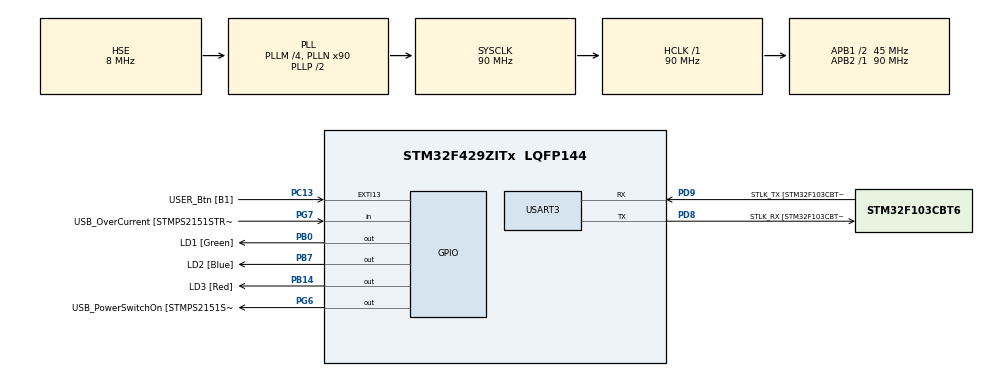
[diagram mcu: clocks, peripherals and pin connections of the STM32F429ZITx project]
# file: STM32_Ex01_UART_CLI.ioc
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ADC1.Channel-0\#ChannelRegularConversion=ADC_CHANNEL_TEMPSENSOR
ADC1.ContinuousConvMode=ENABLE
ADC1.NbrOfConversionFlag=1
ADC1.Rank-0\#ChannelRegularConversion=1
ADC1.SamplingTime-0\#ChannelRegularConversion=ADC_SAMPLETIME_3CYCLES
ADC1.master=1
Mcu.Family=STM32F4
Mcu.Name=STM32F429ZITx
Mcu.Package=LQFP144
NVIC.PriorityGroup=NVIC_PRIORITYGROUP_4
PA1.GPIO_Label=RMII_REF_CLK [LAN8742A-CZ-TR_REFCLK0]
PA1.Signal=ETH_REF_CLK
PA10.GPIO_Label=USB_ID
PA10.Signal=USB_OTG_FS_ID
PA11.GPIO_Label=USB_DM
PA11.Signal=USB_OTG_FS_DM
PA12.GPIO_Label=USB_DP
PA12.Signal=USB_OTG_FS_DP
PA13.GPIO_Label=TMS
PA13.Signal=SYS_JTMS-SWDIO
PA14.GPIO_Label=TCK
PA14.Signal=SYS_JTCK-SWCLK
PA2.GPIO_Label=RMII_MDIO [LAN8742A-CZ-TR_MDIO]
PA2.Signal=ETH_MDIO
PA7.GPIO_Label=RMII_CRS_DV [LAN8742A-CZ-TR_CRS_DV]
PA7.Signal=ETH_CRS_DV
PA8.GPIO_Label=USB_SOF [TP1]
PA8.Signal=USB_OTG_FS_SOF
PA9.GPIO_Label=USB_VBUS
PA9.Signal=USB_OTG_FS_VBUS
PB0.GPIO_Label=LD1 [Green]
PB0.Signal=GPIO_Output
PB13.GPIO_Label=RMII_TXD1 [LAN8742A-CZ-TR_TXD1]
PB13.Signal=ETH_TXD1
PB14.GPIO_Label=LD3 [Red]
PB14.Signal=GPIO_Output
PB7.GPIO_Label=LD2 [Blue]
PB7.Signal=GPIO_Output
PC1.GPIO_Label=RMII_MDC [LAN8742A-CZ-TR_MDC]
PC1.Signal=ETH_MDC
PC13.GPIO_Label=USER_Btn [B1]
PC13.Signal=GPXTI13
PC14/OSC32_IN.Signal=RCC_OSC32_IN
PC15/OSC32_OUT.Signal=RCC_OSC32_OUT
PC4.GPIO_Label=RMII_RXD0 [LAN8742A-CZ-TR_RXD0]
PC4.Signal=ETH_RXD0
PC5.GPIO_Label=RMII_RXD1 [LAN8742A-CZ-TR_RXD1]
PC5.Signal=ETH_RXD1
PD8.GPIO_Label=STLK_RX [STM32F103CBT6_PA3]
PD8.Mode=Asynchronous
PD8.Signal=USART3_TX
PD9.GPIO_Label=STLK_TX [STM32F103CBT6_PA2]
PD9.Mode=Asynchronous
PD9.Signal=USART3_RX
PG11.GPIO_Label=RMII_TX_EN [LAN8742A-CZ-TR_TXEN]
PG11.Signal=ETH_TX_EN
PG13.GPIO_Label=RMII_TXD0 [LAN8742A-CZ-TR_TXD0]
PG13.Signal=ETH_TXD0
PG6.GPIO_Label=USB_PowerSwitchOn [STMPS2151STR_EN]
PG6.Signal=GPIO_Output
PG7.GPIO_Label=USB_OverCurrent [STMPS2151STR_FAULT]
PG7.Signal=GPIO_Input
PH0/OSC_IN.GPIO_Label=MCO [STM32F103CBT6_PA8]
PH0/OSC_IN.Mode=HSE-External-Oscillator
PH0/OSC_IN.Signal=RCC_OSC_IN
PH1/OSC_OUT.Mode=HSE-External-Oscillator
PH1/OSC_OUT.Signal=RCC_OSC_OUT
ProjectManager.HeapSize=0x200
ProjectManager.StackSize=0x400
ProjectManager.TargetToolchain=STM32CubeIDE
RCC.48MHZClocksFreq_Value=45000000
RCC.AHBFreq_Value=90000000
RCC.APB1CLKDivider=RCC_HCLK_DIV2
RCC.APB1Freq_Value=45000000
RCC.APB1TimFreq_Value=90000000
RCC.APB2Freq_Value=90000000
RCC.APB2TimFreq_Value=90000000
RCC.CortexFreq_Value=90000000
RCC.HCLKFreq_Value=90000000
RCC.HSE_VALUE=8000000
RCC.HSI_VALUE=16000000
RCC.LSE_VALUE=32768
RCC.PLLM=4
RCC.PLLMUL=RCC_PLL_MUL9
RCC.PLLN=90
RCC.PLLSourceVirtual=RCC_PLLSOURCE_HSE
RCC.PRESCALERUSB=RCC_USBCLKSOURCE_PLL_DIV1_5
RCC.SYSCLKFreq_VALUE=90000000
RCC.SYSCLKSource=RCC_SYSCLKSOURCE_PLLCLK
RCC.SYSCLKSourceVirtual=RCC_SYSCLKSOURCE_PLLCLK
RCC.USBFreq_Value=48000000
RCC.VCOOutputFreq_Value=180000000
USART3.VirtualMode=VM_ASYNC
VP_ADC1_TempSens_Input.Mode=IN-TempSens
board=NUCLEO-F429ZI

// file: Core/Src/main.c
/* USER CODE BEGIN Header */
/**
  ******************************************************************************
  * @file           : main.c
  * @brief          : Main program body
  ******************************************************************************
  * @attention
  *
  * <h2><center>&copy; Copyright (c) 2021 STMicroelectronics.
  * All rights reserved.</center></h2>
  *
  * This software component is licensed by ST under BSD 3-Clause license,
  * the "License"; You may not use this file except in compliance with the
  * License. You may obtain a copy of the License at:
  *                        opensource.org/licenses/BSD-3-Clause
  *
  ******************************************************************************
  */

/* USER CODE END Header */
#include "main.h"
#include "adc.h"
#include "usart.h"
#include "gpio.h"

/* USER CODE BEGIN Includes */
#include <stdbool.h>
#include "Defines.h"
#include "drv/uart.h"

/* USER CODE END Includes */

void SystemClock_Config(void);
/* USER CODE BEGIN PFP */

void HAL_IncTick(void)
{
  uwTick += uwTickFreq;
  if(uwTick > 9999)
    uwTick = 0;
}

/* USER CODE END PFP */

int main(void)
{
  /* USER CODE BEGIN 1 */
  u4_t u4_ProcItv_0 = 0; //Process 0 Interval
  u4_t u4_ProcItv_1 = 0; //Process 1 Interval

  /* USER CODE END 1 */

  /* MCU Configuration--------------------------------------------------------*/

  /* Reset of all peripherals, Initializes the Flash interface and the Systick. */
  HAL_Init();

  /* Configure the system clock */
  SystemClock_Config();

  /* Initialize all configured peripherals */
  MX_GPIO_Init();
  MX_ADC1_Init();
  MX_USART3_UART_Init();
  /* USER CODE BEGIN 2 */

  Uart_Init ();

  HAL_ADC_Start (&hadc1);

  printf_CLI ("Hello\r\n");

//  printf_debug_on();
  printf_debug_off ();
  printf_debug ("Hello Debug\r\n");
  printf_debug_time ("Hello Debug Time\r\n");

  /* USER CODE END 2 */

  /* Infinite loop */
  /* USER CODE BEGIN WHILE */
  u4_ProcItv_0 = 500;
  u4_ProcItv_1 = 0;

  while (1)
  {
    CLI_DebugProcess ();

    if (u4_ProcItv_0 == 1000)
    {
//    printf_debug_time ("Process 0\r\n");
      u4_ProcItv_0 = 0;
    }
    else
      u4_ProcItv_0++;

//  if (u4_ProcItv_1 == 4000)
    if ((HAL_GetTick() >= u4_ProcItv_1) &&
    		(HAL_GetTick() < u4_ProcItv_1 + 1000))
    {
      printf_debug_time ("Process 1\r\n");
      UI_UpdateProcess ();
      u4_ProcItv_1 += 1000;
      if(u4_ProcItv_1 > 9999)
    	  u4_ProcItv_1 = 0;
    }
//  else
//    u4_ProcItv_1++;

    /* USER CODE END WHILE */

  }
}

void SystemClock_Config(void)
{
  RCC_OscInitTypeDef RCC_OscInitStruct = {0};
  RCC_ClkInitTypeDef RCC_ClkInitStruct = {0};

  /** Configure the main internal regulator output voltage
  */
  __HAL_RCC_PWR_CLK_ENABLE();
  __HAL_PWR_VOLTAGESCALING_CONFIG(PWR_REGULATOR_VOLTAGE_SCALE3);
  /** Initializes the RCC Oscillators according to the specified parameters
  * in the RCC_OscInitTypeDef structure.
  */
  RCC_OscInitStruct.OscillatorType = RCC_OSCILLATORTYPE_HSE;
  RCC_OscInitStruct.HSEState = RCC_HSE_ON;
  RCC_OscInitStruct.PLL.PLLState = RCC_PLL_ON;
  RCC_OscInitStruct.PLL.PLLSource = RCC_PLLSOURCE_HSE;
  RCC_OscInitStruct.PLL.PLLM = 4;
  RCC_OscInitStruct.PLL.PLLN = 90;
  RCC_OscInitStruct.PLL.PLLP = RCC_PLLP_DIV2;
  RCC_OscInitStruct.PLL.PLLQ = 4;
  if (HAL_RCC_OscConfig(&RCC_OscInitStruct) != HAL_OK)
  {
    Error_Handler();
  }
  /** Activate the Over-Drive mode
  */
  if (HAL_PWREx_EnableOverDrive() != HAL_OK)
  {
    Error_Handler();
  }
  /** Initializes the CPU, AHB and APB buses clocks
  */
  RCC_ClkInitStruct.ClockType = RCC_CLOCKTYPE_HCLK|RCC_CLOCKTYPE_SYSCLK
                              |RCC_CLOCKTYPE_PCLK1|RCC_CLOCKTYPE_PCLK2;
  RCC_ClkInitStruct.SYSCLKSource = RCC_SYSCLKSOURCE_PLLCLK;
  RCC_ClkInitStruct.AHBCLKDivider = RCC_SYSCLK_DIV1;
  RCC_ClkInitStruct.APB1CLKDivider = RCC_HCLK_DIV2;
  RCC_ClkInitStruct.APB2CLKDivider = RCC_HCLK_DIV1;

  if (HAL_RCC_ClockConfig(&RCC_ClkInitStruct, FLASH_LATENCY_2) != HAL_OK)
  {
    Error_Handler();
  }
}

void Error_Handler(void)
{
  __disable_irq();
  while (1)
  {
  }
}

/************************ (C) COPYRIGHT STMicroelectronics *****END OF FILE****/
